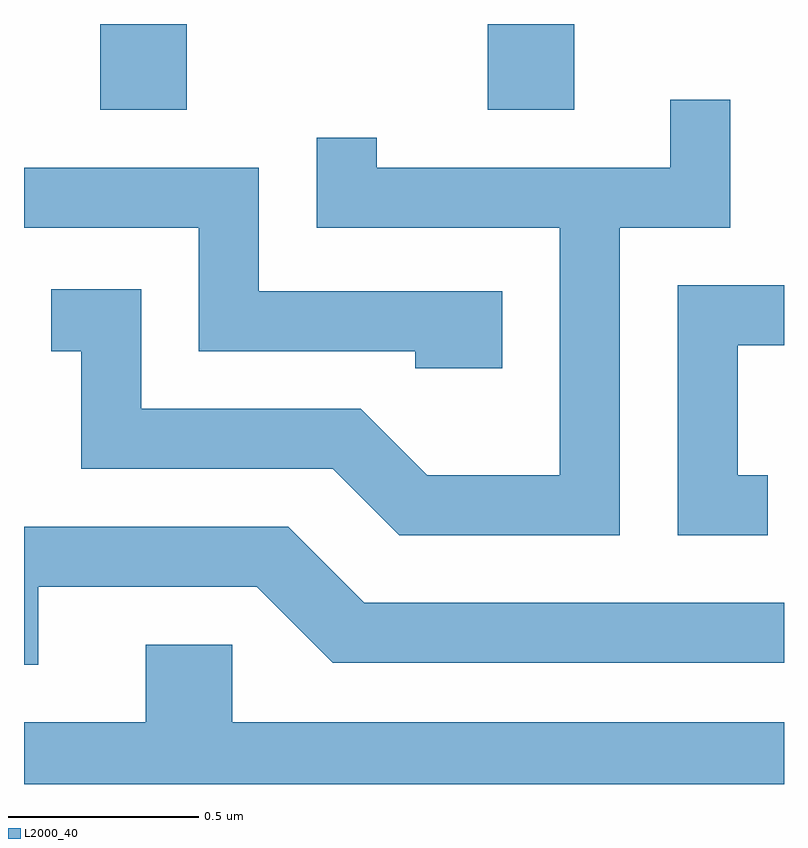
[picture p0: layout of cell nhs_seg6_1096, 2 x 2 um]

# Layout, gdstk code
import gdstk
lib = gdstk.Library(unit=1e-6, precision=1e-09)
def R(c, l, rs):  # rectangles x0, y0, x1, y1
    for r in rs: c.add(gdstk.rectangle(r[:2], r[2:], *l))
def P(c, l, *ps):  # polygons
    for p in ps: c.add(gdstk.Polygon(p, *l))
L2000_40 = (2000, 40)

nhs_seg6_1096 = lib.new_cell('nhs_seg6_1096')
R(nhs_seg6_1096, L2000_40, [(193.811,1531.936,194.039,1532.162), (194.831,1531.936,195.059,1532.162)])
P(nhs_seg6_1096, L2000_40, [(195.179,1531.626),(195.469,1531.626),(195.469,1531.963),(195.311,1531.963),(195.311,1531.784),(194.539,1531.784),(194.539,1531.863),(194.381,1531.863),(194.381,1531.626),(195.021,1531.626),(195.021,1530.974),(194.672,1530.974),(194.497,1531.149),(193.919,1531.149),(193.919,1531.464),(193.683,1531.464),(193.683,1531.301),(193.761,1531.301),(193.761,1530.991),(194.424,1530.991),(194.599,1530.816),(195.179,1530.816)],
  [(194.869,1531.459),(194.229,1531.459),(194.229,1531.784),(193.611,1531.784),(193.611,1531.626),(194.071,1531.626),(194.071,1531.301),(194.641,1531.301),(194.641,1531.256),(194.869,1531.256)],
  [(195.568,1530.974),(195.489,1530.974),(195.489,1531.316),(195.611,1531.316),(195.611,1531.474),(195.331,1531.474),(195.331,1530.816),(195.568,1530.816)],
  [(193.649,1530.681),(194.224,1530.681),(194.424,1530.481),(195.611,1530.481),(195.611,1530.639),(194.507,1530.639),(194.307,1530.839),(193.611,1530.839),(193.611,1530.476),(193.649,1530.476)],
  [(195.611,1530.324),(194.159,1530.324),(194.159,1530.529),(193.931,1530.529),(193.931,1530.324),(193.611,1530.324),(193.611,1530.162),(195.611,1530.162)])

lib.write_gds('nhs_seg6_1096.gds')
